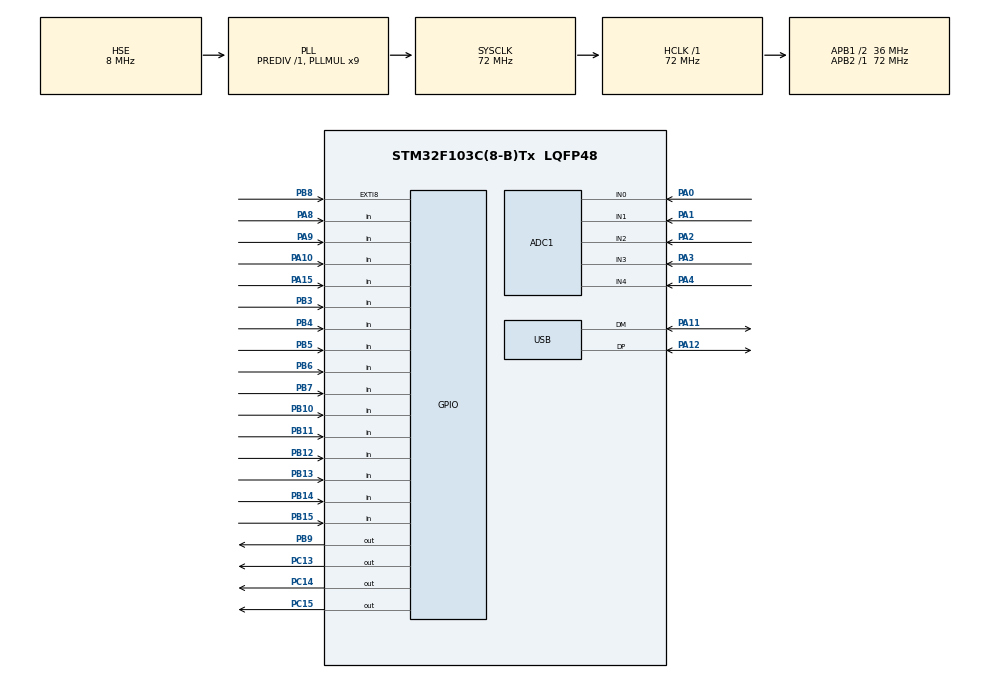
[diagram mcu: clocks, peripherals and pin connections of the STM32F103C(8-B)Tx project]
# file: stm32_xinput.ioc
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ADC1.Channel-0\#ChannelRegularConversion=ADC_CHANNEL_0
ADC1.Channel-1\#ChannelRegularConversion=ADC_CHANNEL_1
ADC1.Channel-2\#ChannelRegularConversion=ADC_CHANNEL_2
ADC1.Channel-3\#ChannelRegularConversion=ADC_CHANNEL_3
ADC1.Channel-4\#ChannelRegularConversion=ADC_CHANNEL_4
ADC1.ContinuousConvMode=DISABLE
ADC1.DataAlign=ADC_DATAALIGN_RIGHT
ADC1.DiscontinuousConvMode=DISABLE
ADC1.EnableAnalogWatchDog=false
ADC1.EnableRegularConversion=ENABLE
ADC1.ExternalTrigConvEdgeChoice=NONE
ADC1.InjNumberOfConversion=0
ADC1.NbrOfConversion=5
ADC1.NbrOfConversionFlag=1
ADC1.Rank-0\#ChannelRegularConversion=1
ADC1.Rank-1\#ChannelRegularConversion=2
ADC1.Rank-2\#ChannelRegularConversion=3
ADC1.Rank-3\#ChannelRegularConversion=4
ADC1.Rank-4\#ChannelRegularConversion=5
ADC1.SamplingTime-0\#ChannelRegularConversion=ADC_SAMPLETIME_13CYCLES_5
ADC1.SamplingTime-1\#ChannelRegularConversion=ADC_SAMPLETIME_13CYCLES_5
ADC1.SamplingTime-2\#ChannelRegularConversion=ADC_SAMPLETIME_13CYCLES_5
ADC1.SamplingTime-3\#ChannelRegularConversion=ADC_SAMPLETIME_13CYCLES_5
ADC1.SamplingTime-4\#ChannelRegularConversion=ADC_SAMPLETIME_13CYCLES_5
ADC1.ScanConvMode=ADC_SCAN_ENABLE
ADC1.master=1
Dma.ADC1.0.Direction=DMA_PERIPH_TO_MEMORY
Dma.ADC1.0.Instance=DMA1_Channel1
Dma.ADC1.0.MemDataAlignment=DMA_MDATAALIGN_WORD
Dma.ADC1.0.MemInc=DMA_MINC_ENABLE
Dma.ADC1.0.Mode=DMA_CIRCULAR
Dma.ADC1.0.PeriphDataAlignment=DMA_PDATAALIGN_WORD
Dma.ADC1.0.PeriphInc=DMA_PINC_DISABLE
Dma.ADC1.0.Priority=DMA_PRIORITY_LOW
Dma.Request0=ADC1
Mcu.Family=STM32F1
Mcu.Name=STM32F103C(8-B)Tx
Mcu.Package=LQFP48
NVIC.DMA1_Channel1_IRQn=true\:0\:0\:false\:false\:true
NVIC.EXTI9_5_IRQn=true\:0\:0\:false\:false\:true
NVIC.PriorityGroup=NVIC_PRIORITYGROUP_4
NVIC.USB_LP_CAN1_RX0_IRQn=true\:0\:0\:false\:false\:true
PA0-WKUP.Signal=ADCx_IN0
PA1.Signal=ADCx_IN1
PA10.GPIO_PuPd=GPIO_PULLUP
PA10.Signal=GPIO_Input
PA11.Mode=Device
PA11.Signal=USB_DM
PA12.Mode=Device
PA12.Signal=USB_DP
PA13.Mode=Serial_Wire
PA13.Signal=SYS_JTMS-SWDIO
PA14.Mode=Serial_Wire
PA14.Signal=SYS_JTCK-SWCLK
PA15.GPIO_PuPd=GPIO_PULLUP
PA15.Signal=GPIO_Input
PA2.Signal=ADCx_IN2
PA3.Signal=ADCx_IN3
PA4.Signal=ADCx_IN4
PA8.GPIO_PuPd=GPIO_PULLUP
PA8.Signal=GPIO_Input
PA9.GPIO_PuPd=GPIO_PULLUP
PA9.Signal=GPIO_Input
PB10.GPIO_PuPd=GPIO_PULLUP
PB10.Signal=GPIO_Input
PB11.GPIO_PuPd=GPIO_PULLUP
PB11.Signal=GPIO_Input
PB12.GPIO_PuPd=GPIO_PULLUP
PB12.Signal=GPIO_Input
PB13.GPIO_PuPd=GPIO_PULLUP
PB13.Signal=GPIO_Input
PB14.GPIO_PuPd=GPIO_PULLUP
PB14.Signal=GPIO_Input
PB15.GPIO_PuPd=GPIO_PULLUP
PB15.Signal=GPIO_Input
PB3.GPIO_PuPd=GPIO_PULLUP
PB3.Signal=GPIO_Input
PB4.GPIO_PuPd=GPIO_PULLUP
PB4.Signal=GPIO_Input
PB5.GPIO_PuPd=GPIO_PULLUP
PB5.Signal=GPIO_Input
PB6.GPIO_PuPd=GPIO_PULLUP
PB6.Signal=GPIO_Input
PB7.GPIO_PuPd=GPIO_PULLUP
PB7.Signal=GPIO_Input
PB8.GPIO_PuPd=GPIO_PULLUP
PB8.Signal=GPXTI8
PB9.Signal=GPIO_Output
PC13-TAMPER-RTC.Signal=GPIO_Output
PC14-OSC32_IN.Signal=GPIO_Output
PC15-OSC32_OUT.Signal=GPIO_Output
PD0-OSC_IN.Mode=HSE-External-Oscillator
PD0-OSC_IN.Signal=RCC_OSC_IN
PD1-OSC_OUT.Mode=HSE-External-Oscillator
PD1-OSC_OUT.Signal=RCC_OSC_OUT
ProjectManager.HeapSize=0x800
ProjectManager.StackSize=0x800
ProjectManager.TargetToolchain=MDK-ARM V5
RCC.ADCPresc=RCC_ADCPCLK2_DIV6
RCC.AHBFreq_Value=72000000
RCC.APB1CLKDivider=RCC_HCLK_DIV2
RCC.APB1Freq_Value=36000000
RCC.APB1TimFreq_Value=72000000
RCC.APB2Freq_Value=72000000
RCC.APB2TimFreq_Value=72000000
RCC.HCLKFreq_Value=72000000
RCC.HSIState=RCC_HSI_ON
RCC.PLLMUL=RCC_PLL_MUL9
RCC.SYSCLKFreq_VALUE=72000000
RCC.SYSCLKSource=RCC_SYSCLKSOURCE_PLLCLK
RCC.USBFreq_Value=48000000
RCC.USBPrescaler=RCC_USBCLKSOURCE_PLL_DIV1_5
SH.ADCx_IN0.0=ADC1_IN0,IN0
SH.ADCx_IN1.0=ADC1_IN1,IN1
SH.ADCx_IN2.0=ADC1_IN2,IN2
SH.ADCx_IN3.0=ADC1_IN3,IN3
SH.ADCx_IN4.0=ADC1_IN4,IN4
USB_DEVICE.USBD_HandleTypeDef=hUsbDeviceFS
USB_DEVICE.VirtualMode=CustomHid
USB_DEVICE.VirtualModeFS=Custom_Hid_FS
VP_USB_DEVICE_VS_USB_DEVICE_CUSTOM_HID_FS.Mode=CUSTOM_HID_FS
board=stm32_xinput

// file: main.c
/**
  ******************************************************************************
  * File Name          : main.c
  * Description        : Main program body
  ******************************************************************************
  *
  * COPYRIGHT(c) 2016 STMicroelectronics
  *
  * Redistribution and use in source and binary forms, with or without modification,
  * are permitted provided that the following conditions are met:
  *   1. Redistributions of source code must retain the above copyright notice,
  *      this list of conditions and the following disclaimer.
  *   2. Redistributions in binary form must reproduce the above copyright notice,
  *      this list of conditions and the following disclaimer in the documentation
  *      and/or other materials provided with the distribution.
  *   3. Neither the name of STMicroelectronics nor the names of its contributors
  *      may be used to endorse or promote products derived from this software
  *      without specific prior written permission.
  *
  * THIS SOFTWARE IS PROVIDED BY THE COPYRIGHT HOLDERS AND CONTRIBUTORS "AS IS"
  * AND ANY EXPRESS OR IMPLIED WARRANTIES, INCLUDING, BUT NOT LIMITED TO, THE
  * IMPLIED WARRANTIES OF MERCHANTABILITY AND FITNESS FOR A PARTICULAR PURPOSE ARE
  * DISCLAIMED. IN NO EVENT SHALL THE COPYRIGHT HOLDER OR CONTRIBUTORS BE LIABLE
  * FOR ANY DIRECT, INDIRECT, INCIDENTAL, SPECIAL, EXEMPLARY, OR CONSEQUENTIAL
  * DAMAGES (INCLUDING, BUT NOT LIMITED TO, PROCUREMENT OF SUBSTITUTE GOODS OR
  * SERVICES; LOSS OF USE, DATA, OR PROFITS; OR BUSINESS INTERRUPTION) HOWEVER
  * CAUSED AND ON ANY THEORY OF LIABILITY, WHETHER IN CONTRACT, STRICT LIABILITY,
  * OR TORT (INCLUDING NEGLIGENCE OR OTHERWISE) ARISING IN ANY WAY OUT OF THE USE
  * OF THIS SOFTWARE, EVEN IF ADVISED OF THE POSSIBILITY OF SUCH DAMAGE.
  *
  ******************************************************************************
  */
#include "stm32f1xx_hal.h"
#include "usb_device.h"
#include "usbd_desc.h"

#include "xinput.h"
#include "stm32_xinput.h"
#include "usb_xinput.h"

ADC_HandleTypeDef hadc1;
DMA_HandleTypeDef hdma_adc1;

/* USER CODE BEGIN PV */
/* Private variables ---------------------------------------------------------*/

extern USBD_HandleTypeDef  *hUsbDevice_0;
uint32_t ADC_buffer[6];

/* USER CODE END PV */

void SystemClock_Config(void);
static void MX_GPIO_Init(void);
static void MX_DMA_Init(void);
static void MX_ADC1_Init(void);

/* USER CODE BEGIN PFP */
/* Private function prototypes -----------------------------------------------*/

/* USER CODE END PFP */
uint8_t USB_RX_Buffer[8] = {0,0,0,0,0,0,0,0};
uint8_t USB_TX_Buffer[8] = {0,0,0,0,0,0,0,0};

extern uint8_t USBD_CUSTOM_HID_SendReport     (USBD_HandleTypeDef  *pdev,
                                 uint8_t *report,
                                 uint16_t len);

/* USER CODE END 0 */

int main(void)
{

  /* MCU Configuration----------------------------------------------------------*/

  /* Reset of all peripherals, Initializes the Flash interface and the Systick. */
  HAL_Init();

  /* Configure the system clock */
  SystemClock_Config();

  /* Initialize all configured peripherals */
  MX_GPIO_Init();
  MX_DMA_Init();
  MX_ADC1_Init();
  MX_USB_DEVICE_Init();

  /* USER CODE BEGIN 2 */

	HAL_DMA_Init(&hdma_adc1);
	HAL_ADC_Start_DMA( &hadc1, ADC_buffer, 6 );
	HAL_ADC_Start_IT( &hadc1 );

	// Declare port and pins
	declareButtonPins();
	declareAnalogPins();
	declareEncoderPins();

  /* USER CODE END 2 */

  /* Infinite loop */
  /* USER CODE BEGIN WHILE */
  while (1)
  {

		// Read and update buttons, dpad and adc handbrake
		readButtons();

		// Potentiometers is used to triggers and sticks

		// Read ADC values
		readAdcValues();

		// Update values of sticks
		updateSticks();

		// Update values of triggres
		updateTriggers();

		// Send commands to PC
		//USBD_LL_Transmit( hUsbDevice_0, XINPUT_TX_ENDPOINT, TXData ,XINPUT_TX_SIZE);
		USBD_CUSTOM_HID_SendReport( hUsbDevice_0, TXData, XINPUT_TX_SIZE );
		//HAL_GPIO_TogglePin(GPIOC, GPIO_PIN_13);				// Led to calculate speed transmission

  /* USER CODE END WHILE */

  }

}

/** System Clock Configuration
*/
void SystemClock_Config(void)
{

  RCC_OscInitTypeDef RCC_OscInitStruct;
  RCC_ClkInitTypeDef RCC_ClkInitStruct;
  RCC_PeriphCLKInitTypeDef PeriphClkInit;

  RCC_OscInitStruct.OscillatorType = RCC_OSCILLATORTYPE_HSE;
  RCC_OscInitStruct.HSEState = RCC_HSE_ON;
  RCC_OscInitStruct.HSEPredivValue = RCC_HSE_PREDIV_DIV1;
  RCC_OscInitStruct.PLL.PLLState = RCC_PLL_ON;
  RCC_OscInitStruct.PLL.PLLSource = RCC_PLLSOURCE_HSE;
  RCC_OscInitStruct.PLL.PLLMUL = RCC_PLL_MUL9;
  HAL_RCC_OscConfig(&RCC_OscInitStruct);

  RCC_ClkInitStruct.ClockType = RCC_CLOCKTYPE_HCLK|RCC_CLOCKTYPE_SYSCLK
                              |RCC_CLOCKTYPE_PCLK1|RCC_CLOCKTYPE_PCLK2;
  RCC_ClkInitStruct.SYSCLKSource = RCC_SYSCLKSOURCE_PLLCLK;
  RCC_ClkInitStruct.AHBCLKDivider = RCC_SYSCLK_DIV1;
  RCC_ClkInitStruct.APB1CLKDivider = RCC_HCLK_DIV2;
  RCC_ClkInitStruct.APB2CLKDivider = RCC_HCLK_DIV1;
  HAL_RCC_ClockConfig(&RCC_ClkInitStruct, FLASH_LATENCY_2);

  PeriphClkInit.PeriphClockSelection = RCC_PERIPHCLK_ADC|RCC_PERIPHCLK_USB;
  PeriphClkInit.AdcClockSelection = RCC_ADCPCLK2_DIV6;
  PeriphClkInit.UsbClockSelection = RCC_USBCLKSOURCE_PLL_DIV1_5;
  HAL_RCCEx_PeriphCLKConfig(&PeriphClkInit);

  HAL_SYSTICK_Config(HAL_RCC_GetHCLKFreq()/1000);

  HAL_SYSTICK_CLKSourceConfig(SYSTICK_CLKSOURCE_HCLK);

  /* SysTick_IRQn interrupt configuration */
  HAL_NVIC_SetPriority(SysTick_IRQn, 0, 0);
}

/* ADC1 init function */
void MX_ADC1_Init(void)
{

  ADC_ChannelConfTypeDef sConfig;

    /**Common config
    */
  hadc1.Instance = ADC1;
  hadc1.Init.ScanConvMode = ADC_SCAN_ENABLE;
  hadc1.Init.ContinuousConvMode = ENABLE;
  hadc1.Init.DiscontinuousConvMode = DISABLE;
  hadc1.Init.ExternalTrigConv = ADC_SOFTWARE_START;
  hadc1.Init.DataAlign = ADC_DATAALIGN_RIGHT;
  hadc1.Init.NbrOfConversion = 6;
  HAL_ADC_Init(&hadc1);

    /**Configure Regular Channel
    */
  sConfig.Channel = ADC_CHANNEL_0;
  sConfig.Rank = 1;
  sConfig.SamplingTime = ADC_SAMPLETIME_13CYCLES_5;
  HAL_ADC_ConfigChannel(&hadc1, &sConfig);

    /**Configure Regular Channel
    */
  sConfig.Channel = ADC_CHANNEL_1;
  sConfig.Rank = 2;
  HAL_ADC_ConfigChannel(&hadc1, &sConfig);

    /**Configure Regular Channel
    */
  sConfig.Channel = ADC_CHANNEL_2;
  sConfig.Rank = 3;
  HAL_ADC_ConfigChannel(&hadc1, &sConfig);

    /**Configure Regular Channel
    */
  sConfig.Channel = ADC_CHANNEL_3;
  sConfig.Rank = 4;
  HAL_ADC_ConfigChannel(&hadc1, &sConfig);

    /**Configure Regular Channel
    */
  sConfig.Channel = ADC_CHANNEL_4;
  sConfig.Rank = 5;
  HAL_ADC_ConfigChannel(&hadc1, &sConfig);

	  /**Configure Regular Channel
    */
  sConfig.Channel = ADC_CHANNEL_5;
  sConfig.Rank = 6;
  HAL_ADC_ConfigChannel(&hadc1, &sConfig);

}

void MX_DMA_Init(void)
{
  /* DMA controller clock enable */
  __HAL_RCC_DMA1_CLK_ENABLE();

  /* DMA interrupt init */
  /* DMA1_Channel1_IRQn interrupt configuration */
  HAL_NVIC_SetPriority(DMA1_Channel1_IRQn, 0, 0);
  HAL_NVIC_EnableIRQ(DMA1_Channel1_IRQn);

}

/** Configure pins as
        * Analog
        * Input
        * Output
        * EVENT_OUT
        * EXTI
*/
void MX_GPIO_Init(void)
{

  GPIO_InitTypeDef GPIO_InitStruct;

  /* GPIO Ports Clock Enable */
  __HAL_RCC_GPIOC_CLK_ENABLE();
  __HAL_RCC_GPIOD_CLK_ENABLE();
  __HAL_RCC_GPIOA_CLK_ENABLE();
  __HAL_RCC_GPIOB_CLK_ENABLE();

  /*Configure GPIO pin Output Level */
  HAL_GPIO_WritePin(GPIOC, GPIO_PIN_13|GPIO_PIN_14|GPIO_PIN_15, GPIO_PIN_RESET);

  /*Configure GPIO pin Output Level */
  HAL_GPIO_WritePin(GPIOB, GPIO_PIN_9, GPIO_PIN_RESET);

  /*Configure GPIO pins : PC13 PC14 PC15 */
  GPIO_InitStruct.Pin = GPIO_PIN_13|GPIO_PIN_14|GPIO_PIN_15;
  GPIO_InitStruct.Mode = GPIO_MODE_OUTPUT_PP;
  GPIO_InitStruct.Speed = GPIO_SPEED_FREQ_LOW;
  HAL_GPIO_Init(GPIOC, &GPIO_InitStruct);

  /*Configure GPIO pins : PB10 PB11 PB12 PB13
                           PB14 PB15 PB3 PB4
                           PB5 PB6 PB7 */
  GPIO_InitStruct.Pin = GPIO_PIN_10|GPIO_PIN_11|GPIO_PIN_12|GPIO_PIN_13
                          |GPIO_PIN_14|GPIO_PIN_15|GPIO_PIN_3|GPIO_PIN_4
                          |GPIO_PIN_5|GPIO_PIN_6|GPIO_PIN_7;
  GPIO_InitStruct.Mode = GPIO_MODE_INPUT;
  GPIO_InitStruct.Pull = GPIO_PULLUP;
  HAL_GPIO_Init(GPIOB, &GPIO_InitStruct);

  /*Configure GPIO pins : PA8 PA9 PA10 PA15 */
  GPIO_InitStruct.Pin = GPIO_PIN_8|GPIO_PIN_9|GPIO_PIN_10|GPIO_PIN_15;
  GPIO_InitStruct.Mode = GPIO_MODE_INPUT;
  GPIO_InitStruct.Pull = GPIO_PULLUP;
  HAL_GPIO_Init(GPIOA, &GPIO_InitStruct);

  /*Configure GPIO pin : PB8 */
  GPIO_InitStruct.Pin = GPIO_PIN_8;
  GPIO_InitStruct.Mode = GPIO_MODE_IT_RISING;
  GPIO_InitStruct.Pull = GPIO_PULLUP;
  HAL_GPIO_Init(GPIOB, &GPIO_InitStruct);

  /*Configure GPIO pin : PB9 */
  GPIO_InitStruct.Pin = GPIO_PIN_9;
  GPIO_InitStruct.Mode = GPIO_MODE_OUTPUT_PP;
  GPIO_InitStruct.Speed = GPIO_SPEED_FREQ_LOW;
  HAL_GPIO_Init(GPIOB, &GPIO_InitStruct);

  /* EXTI interrupt init*/
  HAL_NVIC_SetPriority(EXTI9_5_IRQn, 0, 0);
  HAL_NVIC_EnableIRQ(EXTI9_5_IRQn);

}

/* USER CODE BEGIN 4 */

/**	Encoder ISR
*		Handles the encoder that control the steering wheel position
**/
void HAL_GPIO_EXTI_Callback(uint16_t GPIO_Pin){
	/* Handls encoder of the x360 racing wheel
	if( GPIO_Pin ==  encoderPins[0].pin ){
		if( HAL_GPIO_ReadPin( encoderPins[1].port, encoderPins[1].pin ) == SET ){
			wheelEncoderValue++;
		}else{
			wheelEncoderValue--;
		}
	}
	*/
}

/**	ADC ISR
*		Handles the values from ADC after the conversion finished
*/
void HAL_ADC_ConvCpltCallback(ADC_HandleTypeDef* hadc){

	if( adcValueReady == 0 ){

		leftTriggerValue_ADC	= ADC_buffer[0];
		rightTriggerValue_ADC = ADC_buffer[1];
		xRightStickValue_ADC	= ADC_buffer[2];
		yRightStickValue_ADC	= ADC_buffer[3];
		xLeftStickValue_ADC		= ADC_buffer[4];
		yLeftStickValue_ADC		= ADC_buffer[5];

		adcValueReady = 1;
	}

}

/* USER CODE END 4 */

/************************ (C) COPYRIGHT STMicroelectronics *****END OF FILE****/
